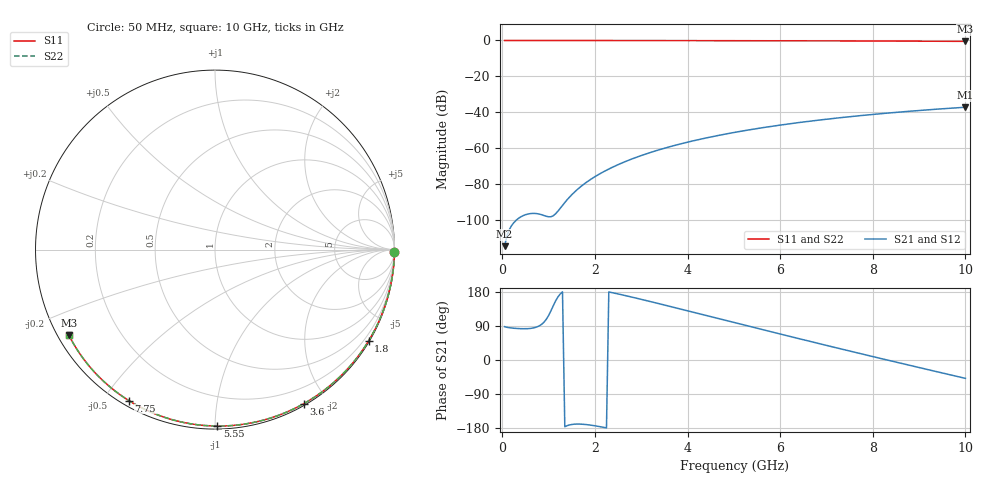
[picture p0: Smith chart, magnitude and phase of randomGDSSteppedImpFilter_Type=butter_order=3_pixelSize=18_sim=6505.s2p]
! freq	dB(S11)	phase(S11)	dB(S12)	phase(S12)
!  dB(S21)	phase(S21)	dB(S22)	phase(S22)
!S-par simulation data
#  GHz  S  DB  R 50
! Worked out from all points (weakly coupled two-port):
!   200 points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, 50 MHz to 10 GHz, reference 50 ohm
!   highest |S21| = -37.14 dB at 10 GHz (marker M1); lowest = -114.4 dB at 50 MHz (marker M2)
!   lowest |S11| = -0.5 dB at 10 GHz (marker M3), VSWR 34.48, Z = 1.56 - j13.6 ohm
!   |S11| at or under -10 dB: nowhere
!   |S22| runs from -0.5 to 0.0 dB; largest |S21 - S12| = 0
!   S11 on the Smith chart (normalised r, x): 50 MHz: open; 1.8 GHz: 0.03, -3.64; 3.6 GHz: 0.02, -1.73; 5.55 GHz: 0.02, -1.01; 7.75 GHz: 0.02, -0.58; 10 GHz: 0.03, -0.27
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0.05  -0.00 -0.9  -114.43 88.0  -114.43 88.0  -0.00 -0.9
0.45  -0.01 -7.8  -97.45 82.5  -97.45 82.5  -0.01 -7.8
0.9  -0.02 -15.5  -97.37 99.7  -97.37 99.7  -0.02 -15.5
1.3  -0.03 -22.3  -91.71 179.8  -91.71 179.8  -0.03 -22.3
1.75  -0.04 -29.9  -80.17 -169.7  -80.17 -169.7  -0.04 -29.9
1.8  -0.04 -30.8  -79.21 -170.2  -79.21 -170.2  -0.04 -30.8
1.95  -0.04 -33.3  -76.58 -172.6  -76.58 -172.6  -0.04 -33.3
2.1  -0.05 -35.8  -74.26 -175.7  -74.26 -175.7  -0.05 -35.8
2.3  -0.05 -39.1  -71.51 179.6  -71.51 179.6  -0.05 -39.1
2.5  -0.05 -42.3  -69.09 174.3  -69.09 174.3  -0.05 -42.3
2.9  -0.06 -48.8  -64.94 163.0  -64.94 163.0  -0.06 -48.8
3.4  -0.08 -56.8  -60.70 148.2  -60.70 148.2  -0.08 -56.8
3.6  -0.08 -60.0  -59.23 142.1  -59.23 142.1  -0.08 -60.0
4.3  -0.10 -70.8  -54.79 120.6  -54.79 120.6  -0.10 -70.8
5.05  -0.13 -82.0  -50.97 97.6  -50.97 97.6  -0.13 -82.0
5.55  -0.15 -89.2  -48.81 82.3  -48.81 82.3  -0.15 -89.2
6.1  -0.17 -97.1  -46.72 65.5  -46.72 65.5  -0.17 -97.1
6.7  -0.21 -105.4  -44.72 47.5  -44.72 47.5  -0.21 -105.4
7.75  -0.28 -119.7  -41.77 16.3  -41.77 16.3  -0.28 -119.7
8.35  -0.33 -127.7  -40.33 -1.2  -40.33 -1.2  -0.33 -127.7
9.2  -0.41 -139.0  -38.56 -25.6  -38.56 -25.6  -0.41 -139.0
10  -0.50 -149.6  -37.14 -48.4  -37.14 -48.4  -0.50 -149.6
